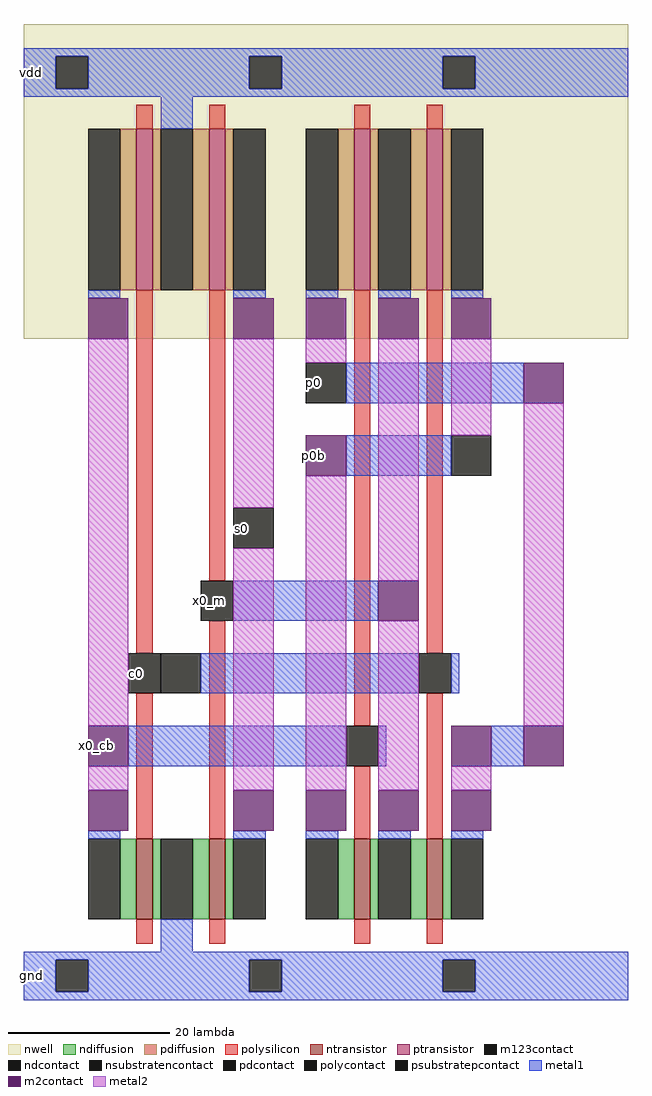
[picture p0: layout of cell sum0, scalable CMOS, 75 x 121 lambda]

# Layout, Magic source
magic
tech scmos
<< nwell >>
rect 0 82 75 121
<< ntransistor >>
rect 14 10 16 20
rect 23 10 25 20
rect 41 10 43 20
rect 50 10 52 20
<< ptransistor >>
rect 14 88 16 108
rect 23 88 25 108
rect 41 88 43 108
rect 50 88 52 108
<< ndiffusion >>
rect 12 10 14 20
rect 16 10 17 20
rect 21 10 23 20
rect 25 10 26 20
rect 39 10 41 20
rect 43 10 44 20
rect 48 10 50 20
rect 52 10 53 20
<< pdiffusion >>
rect 12 88 14 108
rect 16 88 17 108
rect 21 88 23 108
rect 25 88 26 108
rect 39 88 41 108
rect 43 88 44 108
rect 48 88 50 108
rect 52 88 53 108
<< ndcontact >>
rect 8 10 12 20
rect 17 10 21 20
rect 26 10 30 20
rect 35 10 39 20
rect 44 10 48 20
rect 53 10 57 20
<< pdcontact >>
rect 8 88 12 108
rect 17 88 21 108
rect 26 88 30 108
rect 35 88 39 108
rect 44 88 48 108
rect 53 88 57 108
<< psubstratepcontact >>
rect 4 1 8 5
rect 28 1 32 5
rect 52 1 56 5
<< nsubstratencontact >>
rect 4 113 8 117
rect 28 113 32 117
rect 52 113 56 117
<< polysilicon >>
rect 14 108 16 111
rect 23 108 25 111
rect 41 108 43 111
rect 50 108 52 111
rect 14 43 16 88
rect 23 52 25 88
rect 14 20 16 38
rect 23 20 25 47
rect 41 34 43 88
rect 50 43 52 88
rect 41 20 43 29
rect 50 20 52 38
rect 14 7 16 10
rect 23 7 25 10
rect 41 7 43 10
rect 50 7 52 10
<< polycontact >>
rect 22 47 26 52
rect 13 38 17 43
rect 49 38 53 43
rect 40 29 44 34
<< metal1 >>
rect 0 117 75 118
rect 0 113 4 117
rect 8 113 28 117
rect 32 113 52 117
rect 56 113 75 117
rect 0 112 75 113
rect 17 108 21 112
rect 8 87 12 88
rect 26 87 30 88
rect 35 87 39 88
rect 44 87 48 88
rect 53 87 57 88
rect 40 74 62 79
rect 40 65 53 70
rect 26 47 44 52
rect 22 38 49 43
rect 53 38 54 43
rect 13 29 40 34
rect 44 29 45 34
rect 58 29 62 34
rect 8 20 12 21
rect 26 20 30 21
rect 35 20 39 21
rect 44 20 48 21
rect 53 20 57 21
rect 17 6 21 10
rect 0 5 75 6
rect 0 1 4 5
rect 8 1 28 5
rect 32 1 52 5
rect 56 1 75 5
rect 0 0 75 1
<< m2contact >>
rect 8 82 13 87
rect 26 82 31 87
rect 35 82 40 87
rect 44 82 49 87
rect 53 82 58 87
rect 62 74 67 79
rect 35 65 40 70
rect 44 47 49 52
rect 8 29 13 34
rect 53 29 58 34
rect 62 29 67 34
rect 8 21 13 26
rect 26 21 31 26
rect 35 21 40 26
rect 44 21 49 26
rect 53 21 58 26
<< metal2 >>
rect 8 34 13 82
rect 26 61 31 82
rect 35 79 40 82
rect 8 26 13 29
rect 26 26 31 56
rect 35 26 40 65
rect 44 52 49 82
rect 53 70 58 82
rect 44 26 49 47
rect 62 34 67 74
rect 53 26 58 29
<< m123contact >>
rect 35 74 40 79
rect 26 56 31 61
rect 17 38 22 43
rect 53 65 58 70
<< labels >>
rlabel metal1 13 38 15 43 0 c0
port 1 nsew
rlabel metal1 35 74 37 79 0 p0
port 2 nsew
rlabel m2contact 35 65 37 70 0 p0b
port 3 nsew
rlabel metal1 26 56 28 61 0 s0
port 4 nsew
rlabel m2contact 8 29 10 34 0 x0_cb
rlabel metal1 22 47 24 52 0 x0_m
rlabel metal1 0 112 2 118 0 vdd
port 5 nsew
rlabel metal1 0 0 2 6 0 gnd
port 6 nsew
<< end >>
